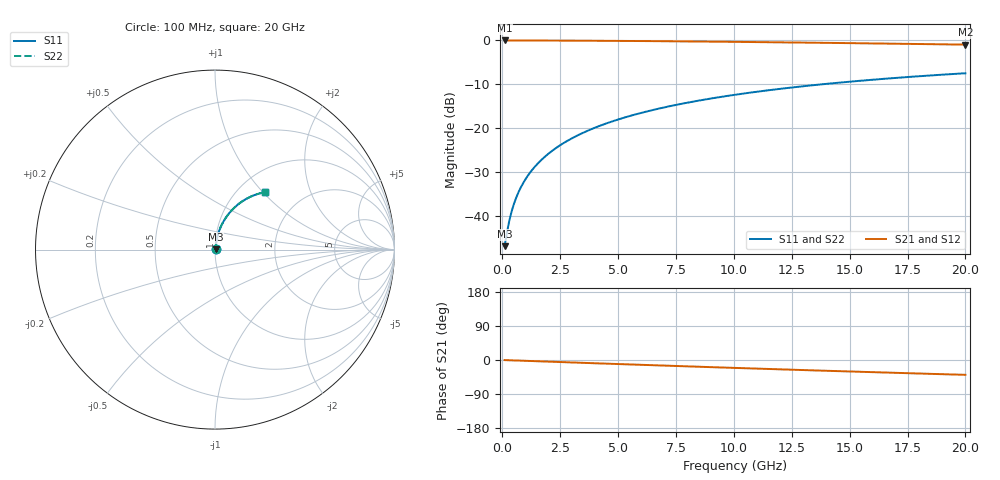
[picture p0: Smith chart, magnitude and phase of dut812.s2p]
! Touchstone file exported from HFSS 2026.1.0
!  File:  C:/ffzhzh/LocalFiles/Ansys_Project_Files/temp_train_TMRDL_812_1783156316_43440.aedt
!  Generated:  05:13:10 PM Jul  4, 2026
!  Design:  TMRDL
!  Project:  temp_train_TMRDL_812_1783156316_43440
! Variables:
!  h_bsmrdl = 2um
!  h_ox = 20um
!  h_rdl = 5um
!  h_sub = 80um
!  h_tmrdl = 4.6um
!  h_tsv = 80um
!  h_via = 3um
!  l_bsmrdl = 300um
!  l_sub = 935.68um
!  l_tmrdl = 535.68um
!  m_sub = 200um
!  pitch = 40.03um
!  r_tsv = 6um
!  s_tmrdl = 10um
!  w_bsmrdl = 18um
!  w_sub = 500um
!  w_tmrdl = 11.24um
!  x_tsv_center1 = 541.3um
!  x_tsv_center2 = 859.3um
!  x_tsv_center3 = 1406.22um
!  x_tsv_center4 = 1724.22um
!  x_tsv_center5 = 2271.14um
!  x_tsv_center6 = 2589.14um
# GHz S MA R 50.000000
! Terminal data exported
! Port[1] = TM_RDL1_1_T1
! Port[2] = TM_RDL1_1_T2
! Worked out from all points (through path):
!   200 points, 100 MHz to 20 GHz, reference 50 ohm
!   highest |S21| = -0.03 dB at 100 MHz (marker M1); lowest = -1.0 dB at 20 GHz (marker M2)
!   group delay of S21, straight-line fit = 5.44 ps
!   lowest |S11| = -46.8 dB at 100 MHz (marker M3), VSWR 1.01, Z = 50.4 + j0.269 ohm
!   |S11| at or under -10 dB: start of sweep to 13.8 GHz
!   |S22| runs from -46.8 to -7.5 dB; largest |S21 - S12| = 3.2e-15
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0.1  0.004581 35.7  0.9963 -0.2  0.9963 -0.2  0.004581 35.7
! Gamma 0 0 0 0
! Port Impedance 50 0 50 0
0.2  0.006544 54.4  0.9962 -0.4  0.9962 -0.4  0.006544 54.4
0.3  0.008864 63.7  0.9961 -0.7  0.9961 -0.7  0.008864 63.7
0.4  0.0113 68.8  0.996 -0.9  0.996 -0.9  0.0113 68.8
0.5  0.01378 72.0  0.9959 -1.1  0.9959 -1.1  0.01378 72.0
0.6  0.01628 74.2  0.9958 -1.3  0.9958 -1.3  0.01628 74.2
0.8  0.0213 76.9  0.9956 -1.7  0.9956 -1.7  0.0213 76.9
1.1  0.02887 79.0  0.9953 -2.4  0.9953 -2.4  0.02887 79.0
1.5  0.039 80.1  0.9948 -3.3  0.9948 -3.3  0.03901 80.1
1.8  0.04661 80.4  0.9943 -3.9  0.9943 -3.9  0.04661 80.4
2.1  0.0542 80.4  0.9938 -4.6  0.9938 -4.6  0.0542 80.4
2.7  0.06931 79.9  0.9925 -5.8  0.9925 -5.8  0.06931 79.9
3.5  0.08928 78.8  0.9904 -7.5  0.9904 -7.5  0.08928 78.8
4.2  0.1065 77.7  0.9882 -9.0  0.9882 -9.0  0.1065 77.7
5  0.1259 76.2  0.9853 -10.7  0.9853 -10.7  0.1259 76.2
5.9  0.1474 74.6  0.9817 -12.6  0.9817 -12.6  0.1474 74.6
6.8  0.1684 72.8  0.9777 -14.4  0.9777 -14.4  0.1684 72.8
8.3  0.2025 70.0  0.9703 -17.4  0.9703 -17.4  0.2025 70.0
10.1  0.2417 66.6  0.9604 -21.0  0.9604 -21.0  0.2417 66.6
13.4  0.3086 60.5  0.9398 -27.3  0.9398 -27.3  0.3087 60.5
16.7  0.369 54.7  0.9172 -33.4  0.9172 -33.4  0.369 54.7
20  0.4224 49.1  0.8936 -39.1  0.8936 -39.1  0.4224 49.1
